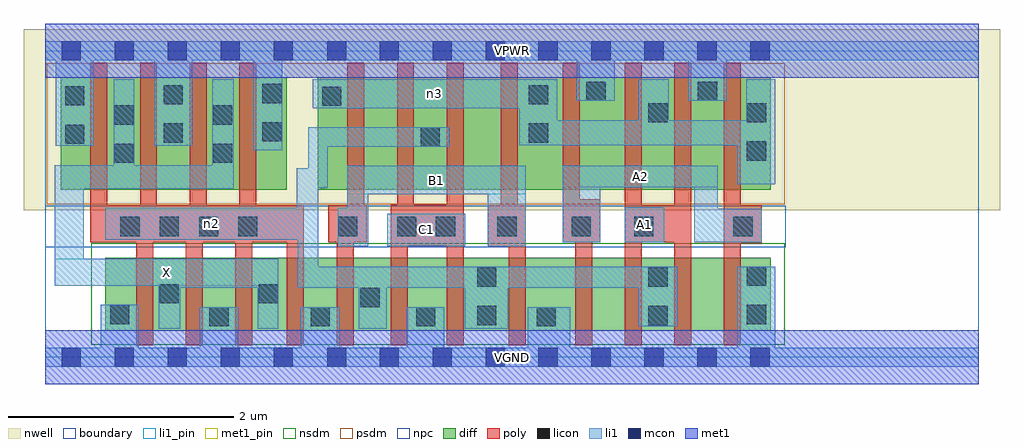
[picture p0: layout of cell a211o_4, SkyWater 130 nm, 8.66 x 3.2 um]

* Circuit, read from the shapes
.subckt a211o_4 A1 A2 B1 C1 VGND VPWR X n2 n3
XM1 X n2 VGND VSUBS sky130_fd_pr__nfet_01v8 w=0.65 l=0.15 m=4
XM2 n2 B1 VGND VSUBS sky130_fd_pr__nfet_01v8 w=0.65 l=0.15 m=2
XM3 VGND C1 n2 VSUBS sky130_fd_pr__nfet_01v8 w=0.65 l=0.15 m=2
XM4 n1 A2 VGND VSUBS sky130_fd_pr__nfet_01v8 w=0.65 l=0.15
XM5 n2 A1 n1 VSUBS sky130_fd_pr__nfet_01v8 w=0.65 l=0.15
XM6 n4 A1 n2 VSUBS sky130_fd_pr__nfet_01v8 w=0.65 l=0.15
XM7 VGND A2 n4 VSUBS sky130_fd_pr__nfet_01v8 w=0.65 l=0.15
XM8 X n2 VPWR n5 sky130_fd_pr__pfet_01v8 w=1 l=0.15 m=4
XM9 n6 B1 n3 n5 sky130_fd_pr__pfet_01v8 w=1 l=0.15
XM10 n2 C1 n6 n5 sky130_fd_pr__pfet_01v8 w=1 l=0.15
XM11 n7 C1 n2 n5 sky130_fd_pr__pfet_01v8 w=1 l=0.15
XM12 n3 B1 n7 n5 sky130_fd_pr__pfet_01v8 w=1 l=0.15
XM13 VPWR A2 n3 n5 sky130_fd_pr__pfet_01v8 w=1 l=0.15 m=2
XM14 n3 A1 VPWR n5 sky130_fd_pr__pfet_01v8 w=1 l=0.15 m=2
.ends

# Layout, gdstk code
import gdstk
lib = gdstk.Library(unit=1e-6, precision=1e-09)
def R(c, l, rs):  # rectangles x0, y0, x1, y1
    for r in rs: c.add(gdstk.rectangle(r[:2], r[2:], *l))
def A(c, l, x, y, w, h, nx, ny, dx, dy):  # array of equal rectangles
    R(c, l, [(x+i*dx, y+j*dy, x+i*dx+w, y+j*dy+h) for i in range(nx) for j in range(ny)])
nwell = (64, 20)
diff = (65, 20)
poly = (66, 20)
licon = (66, 44)
li1_pin = (67, 16)
li1 = (67, 20)
mcon = (67, 44)
met1_pin = (68, 16)
met1 = (68, 20)
nsdm = (93, 44)
psdm = (94, 20)
npc = (95, 20)
boundary = (235, 4)

a211o_4 = lib.new_cell('a211o_4')
R(a211o_4, nwell, [(-0.19,1.305,8.47,2.91), (0,1.305,8.28,2.91)])
R(a211o_4, diff, [(0.53,0.235,6.435,0.885), (0.135,1.485,2.14,2.485), (2.415,1.485,6.435,2.485)])
A(a211o_4, poly, 0.805, 0.105, 0.15, 1.245, 3, 1, 0.44, 0)
A(a211o_4, poly, 5.14, 0.105, 0.15, 2.51, 3, 1, 0.44, 0)
A(a211o_4, poly, 0.4, 1.02, 0.15, 1.595, 4, 1, 0.44, 0)
R(a211o_4, poly, [(2.14,0.105,2.29,1.35), (2.585,0.105,2.735,1.35), (3.065,0.105,3.215,1.355), (3.56,0.105,3.71,2.615), (4.11,0.105,4.26,1.35), (4.7,0.105,4.85,1.4), (3.925,0.985,4.26,1.35), (4.04,0.985,4.19,2.615), (3.065,0.99,3.71,1.355), (3.12,0.99,3.27,2.615), (6.02,1.01,6.355,1.35), (0.4,1.02,2.29,1.35), (2.51,1.02,2.85,1.35), (2.68,1.02,2.83,2.615), (4.59,1.02,4.74,2.615), (4.59,1.02,4.925,1.4), (5.14,1.02,5.73,1.35)])
A(a211o_4, licon, 0.665, 1.075, 0.17, 0.17, 3, 1, 0.35, 0)
R(a211o_4, licon, [(1.455,0.275,1.625,0.445), (2.355,0.275,2.525,0.445), (3.29,0.275,3.46,0.445), (4.36,0.275,4.53,0.445), (3.83,0.285,4,0.455), (5.35,0.285,5.52,0.455), (0.575,0.295,0.745,0.465), (6.225,0.295,6.395,0.465), (2.795,0.445,2.965,0.615), (1.015,0.48,1.185,0.65), (1.895,0.48,2.065,0.65), (3.83,0.625,4,0.795), (5.35,0.625,5.52,0.795), (6.225,0.635,6.395,0.805), (1.71,1.075,1.88,1.245), (2.595,1.075,2.765,1.245), (3.12,1.075,3.29,1.245), (3.465,1.075,3.635,1.245), (4.01,1.075,4.18,1.245), (4.67,1.075,4.84,1.245), (5.225,1.075,5.395,1.245), (6.105,1.075,6.275,1.245), (0.61,1.725,0.78,1.895), (1.49,1.725,1.66,1.895), (6.225,1.745,6.395,1.915), (3.33,1.87,3.5,2.04), (0.175,1.895,0.345,2.065), (1.05,1.905,1.22,2.075), (4.29,1.905,4.46,2.075), (1.925,1.915,2.095,2.085), (0.61,2.065,0.78,2.235), (1.49,2.065,1.66,2.235), (5.35,2.085,5.52,2.255), (6.225,2.085,6.395,2.255), (2.455,2.23,2.625,2.4), (0.175,2.235,0.345,2.405), (1.05,2.245,1.22,2.415), (4.29,2.245,4.46,2.415), (1.925,2.255,2.095,2.425), (4.8,2.275,4.97,2.445), (5.79,2.275,5.96,2.445)])
R(a211o_4, li1_pin, [(0.085,0.635,2.065,0.875), (3.035,0.985,3.725,1.275), (5.14,1.02,5.49,1.33), (2.68,1.445,4.26,1.7), (4.59,1.51,5.965,1.7)])
R(a211o_4, li1, [(0,-0.085,8.28,0.085), (0.49,-0.085,0.83,0.465), (1.37,-0.085,1.71,0.445), (2.265,-0.085,2.61,0.445), (3.205,-0.085,3.54,0.445), (4.28,-0.085,4.655,0.445), (6.14,-0.085,6.475,0.805), (1.005,0.255,1.195,0.875), (1.885,0.255,2.065,0.875), (2.78,0.255,3.03,0.805), (3.72,0.255,4.105,0.805), (5.265,0.275,5.605,0.805), (1.005,0.615,2.065,0.875), (2.24,0.615,5.605,0.805), (2.24,0.615,2.42,1.675), (0.085,0.635,2.065,0.875), (0.085,0.635,0.34,1.705), (2.595,0.985,2.865,1.325), (2.68,0.985,2.865,1.7), (3.035,0.985,3.725,1.275), (3.925,0.985,4.26,1.7), (4.59,1.02,4.925,1.7), (5.14,1.02,5.49,1.33), (5.755,1.02,6.355,1.32), (5.755,1.02,5.965,1.7), (0.53,1.045,2.42,1.325), (2.23,1.045,2.42,1.675), (2.68,1.445,4.26,1.7), (0.085,1.495,1.67,1.705), (0.605,1.495,0.79,2.465), (1.48,1.495,1.67,2.465), (2.33,1.505,2.505,2.04), (4.59,1.51,5.965,1.7), (6.14,1.535,6.475,2.105), (6.22,1.535,6.475,2.465), (1.845,1.835,2.1,2.805), (2.33,1.87,3.585,2.04), (0.09,1.875,0.43,2.805), (0.965,1.875,1.305,2.805), (4.205,1.88,6.475,2.105), (4.205,1.88,4.54,2.465), (5.265,1.88,5.53,2.465), (2.37,2.21,4.54,2.465), (4.715,2.275,5.05,2.805), (5.705,2.275,6.045,2.805), (0,2.635,8.28,2.805)])
A(a211o_4, mcon, 0.145, -0.085, 0.17, 0.17, 5, 2, 0.47, 2.72)
A(a211o_4, mcon, 2.965, -0.085, 0.17, 0.17, 8, 2, 0.47, 2.72)
R(a211o_4, mcon, [(2.5,-0.085,2.67,0.085), (2.5,2.635,2.67,2.805)])
R(a211o_4, met1_pin, [(0,-0.24,8.28,0.24), (0,2.48,8.28,2.96)])
R(a211o_4, met1, [(0,-0.24,8.28,0.24), (0,2.48,8.28,2.96)])
R(a211o_4, nsdm, [(0.405,0.11,6.56,1.01)])
R(a211o_4, psdm, [(0.01,1.36,6.56,2.61)])
R(a211o_4, npc, [(0,0.975,6.57,1.345)])
R(a211o_4, boundary, [(0,0,8.28,2.72)])
a211o_4.add(gdstk.Label('A1', (5.315,1.175), layer=67, texttype=5))
a211o_4.add(gdstk.Label('A2', (5.277,1.605), layer=67, texttype=5))
a211o_4.add(gdstk.Label('B1', (3.47,1.572), layer=67, texttype=5))
a211o_4.add(gdstk.Label('C1', (3.38,1.13), layer=67, texttype=5))
a211o_4.add(gdstk.Label('X', (1.075,0.755), layer=67, texttype=5))
a211o_4.add(gdstk.Label('n2', (1.475,1.185), layer=67, texttype=5))
a211o_4.add(gdstk.Label('n3', (3.455,2.337), layer=67, texttype=5))
a211o_4.add(gdstk.Label('VPWR', (4.14,2.72), layer=68, texttype=5))
a211o_4.add(gdstk.Label('VGND', (4.14,0), layer=68, texttype=5))
a211o_4.add(gdstk.Label('A1', (5.315,1.175), layer=67, texttype=16))
a211o_4.add(gdstk.Label('A2', (5.277,1.605), layer=67, texttype=16))
a211o_4.add(gdstk.Label('B1', (3.47,1.572), layer=67, texttype=16))
a211o_4.add(gdstk.Label('C1', (3.38,1.13), layer=67, texttype=16))
a211o_4.add(gdstk.Label('X', (1.075,0.755), layer=67, texttype=16))
a211o_4.add(gdstk.Label('VPWR', (4.14,2.72), layer=68, texttype=16))
a211o_4.add(gdstk.Label('VGND', (4.14,0), layer=68, texttype=16))

lib.write_gds('a211o_4.gds')
